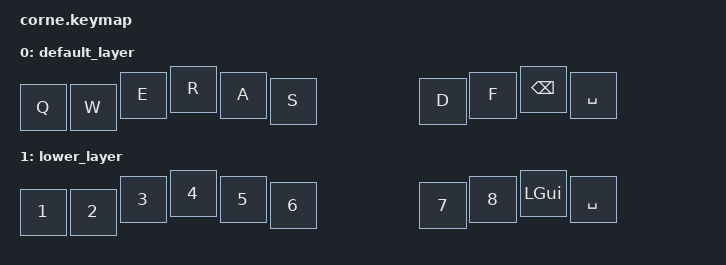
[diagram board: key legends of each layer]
/*
 * Copyright (c) 2020 The ZMK Contributors
 *
 * SPDX-License-Identifier: MIT
 */

#include <behaviors.dtsi>
#include <dt-bindings/zmk/keys.h>
#include <dt-bindings/zmk/bt.h>

/ {
        keymap {
                compatible = "zmk,keymap";

                default_layer {
// -------------------------
// |  Q  |  W  |  E  |  R  |  
// |  A  |  S  |  D  |  F  |
// |     |     |     |  BSPC  |  SPACE  |  
                        bindings = <
   &kp Q &kp W &kp E &kp R
   &kp A &kp S &kp D &kp F
                     &kp BSPC &kp SPACE
                        >;
                };
                lower_layer {
// -------------------------
// |  1  |  2  |  3  |  4  |
// |  5  |  6  |  7  |  8  |
//                   | GUI |  ENT |
                        bindings = <
   &kp N1       &kp N2       &kp N3       &kp N4
   &kp N5       &kp N6       &kp N7       &kp N8
                             &kp LGUI     &kp SPACE
                        >;
                };
                raise_layer {
                };
        };
};
